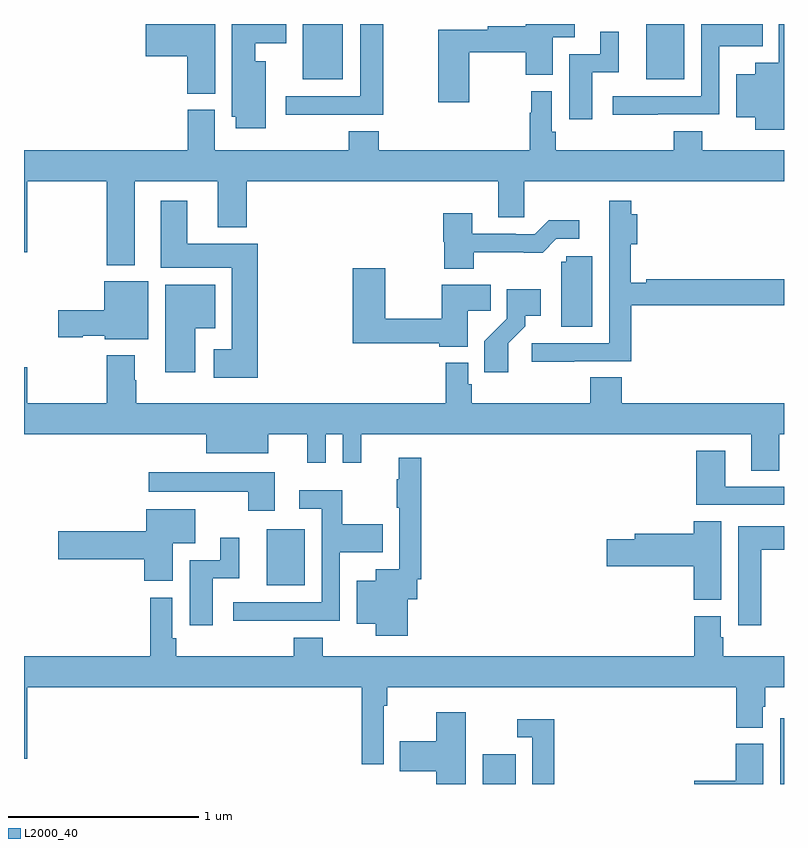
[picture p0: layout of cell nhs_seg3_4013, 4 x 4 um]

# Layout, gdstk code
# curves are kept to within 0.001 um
import gdstk
lib = gdstk.Library(unit=1e-6, precision=1e-09)
def R(c, l, rs):  # rectangles x0, y0, x1, y1
    for r in rs: c.add(gdstk.rectangle(r[:2], r[2:], *l))
def P(c, l, *ps):  # polygons
    for p in ps: c.add(gdstk.Polygon(p, *l))
L2000_40 = (2000, 40)

nhs_seg3_4013 = lib.new_cell('nhs_seg3_4013')
R(nhs_seg3_4013, L2000_40, [(323.414,708.4,323.587,708.556), (324.98,708.4,325,708.745), (322.277,709.445,322.477,709.741), (322.466,712.109,322.678,712.4), (324.275,712.109,324.475,712.4)])
P(nhs_seg3_4013, L2000_40, [(322.273,712.204),(322.216,712.204),(322.216,712.298),(322.381,712.298),(322.381,712.4),(322.094,712.4),(322.094,711.912),(322.115,711.912),(322.115,711.852),(322.273,711.852)],
  [(325,712.4),(324.972,712.4),(324.972,712.195),(324.848,712.195),(324.848,712.135),(324.749,712.135),(324.749,711.908),(324.848,711.908),(324.848,711.843),(325,711.843)],
  [(324.335,711.924),(324.66,711.924),(324.66,712.283),(324.887,712.283),(324.887,712.4),(324.564,712.4),(324.564,712.02),(324.099,712.02),(324.099,711.923),(324.335,711.923)],
  [(323.344,712.252),(323.642,712.252),(323.642,712.134),(323.782,712.134),(323.782,712.331),(323.899,712.331),(323.899,712.4),(323.642,712.4),(323.642,712.388),(323.44,712.388),(323.44,712.371),(323.179,712.371),(323.179,711.987),(323.344,711.987)],
  [(322.006,712.4),(321.642,712.4),(321.642,712.229),(321.86,712.229),(321.86,712.033),(322.006,712.033)],
  [(322.89,712.4),(322.769,712.4),(322.769,712.02),(322.377,712.02),(322.377,711.923),(322.89,711.923)],
  [(323.992,712.146),(324.13,712.146),(324.13,712.36),(324.032,712.36),(324.032,712.242),(323.87,712.242),(323.87,711.9),(323.992,711.9)],
  [(323.495,711.382),(323.634,711.382),(323.634,711.572),(325,711.572),(325,711.736),(324.571,711.736),(324.571,711.835),(324.419,711.835),(324.419,711.736),(323.798,711.736),(323.798,711.832),(323.778,711.832),(323.778,712.045),(323.67,712.045),(323.67,711.932),(323.662,711.932),(323.662,711.736),(322.868,711.736),(322.868,711.835),(322.708,711.835),(322.708,711.736),(322.003,711.736),(322.003,711.948),(321.863,711.948),(321.863,711.736),(321,711.736),(321,711.198),(321.016,711.198),(321.016,711.572),(321.436,711.572),(321.436,711.131),(321.583,711.131),(321.583,711.572),(322.019,711.572),(322.019,711.329),(322.172,711.329),(322.172,711.572),(323.495,711.572)],
  [(323.897,710.625),(324.197,710.625),(324.197,710.92),(325,710.92),(325,711.056),(324.274,711.056),(324.274,711.038),(324.193,711.038),(324.193,711.242),(324.227,711.242),(324.227,711.4),(324.197,711.4),(324.197,711.469),(324.08,711.469),(324.08,711.246),(324.081,711.246),(324.081,710.721),(323.673,710.721),(323.673,710.623),(323.897,710.623)],
  [(322.229,711.244),(321.859,711.244),(321.859,711.469),(321.719,711.469),(321.719,711.116),(322.094,711.116),(322.094,710.689),(321.999,710.689),(321.999,710.537),(322.229,710.537)],
  [(323.367,711.198),(323.729,711.197),(323.802,711.27),(323.923,711.27),(323.923,711.367),(323.761,711.367),(323.688,711.294),(323.588,711.294),(323.588,711.297),(323.359,711.297),(323.359,711.403),(323.207,711.403),(323.207,711.255),(323.212,711.255),(323.212,711.113),(323.367,711.113)],
  [(323.992,711.177),(323.853,711.177),(323.853,711.15),(323.828,711.15),(323.828,710.806),(323.992,710.806)],
  [(323.335,710.89),(323.456,710.89),(323.456,711.028),(323.198,711.028),(323.198,710.849),(322.9,710.849),(322.9,711.115),(322.73,711.115),(322.73,710.721),(323.186,710.721),(323.186,710.702),(323.335,710.702)],
  [(321.655,711.046),(321.422,711.046),(321.422,710.894),(321.18,710.894),(321.18,710.752),(321.309,710.752),(321.309,710.759),(321.426,710.759),(321.426,710.741),(321.655,710.741)],
  [(321.901,710.798),(322.006,710.798),(322.006,711.028),(321.743,711.028),(321.743,710.568),(321.901,710.568)],
  [(323.548,710.719),(323.638,710.809),(323.638,710.864),(323.719,710.864),(323.719,711.004),(323.541,711.004),(323.541,710.849),(323.422,710.73),(323.422,710.568),(323.548,710.568)],
  [(321,710.593),(321,710.24),(321.959,710.24),(321.959,710.141),(322.285,710.141),(322.285,710.24),(322.49,710.24),(322.49,710.091),(322.587,710.091),(322.587,710.24),(322.677,710.24),(322.677,710.091),(322.775,710.091),(322.775,710.24),(324.827,710.24),(324.827,710.05),(324.975,710.05),(324.975,710.24),(325,710.24),(325,710.404),(324.146,710.404),(324.146,710.54),(323.981,710.54),(323.981,710.404),(323.357,710.404),(323.357,710.505),(323.337,710.505),(323.337,710.617),(323.221,710.617),(323.221,710.404),(321.591,710.404),(321.591,710.525),(321.583,710.525),(321.583,710.656),(321.436,710.656),(321.436,710.404),(321.016,710.404),(321.016,710.593)],
  [(325,709.965),(324.691,709.965),(324.691,710.155),(324.539,710.155),(324.539,709.869),(325,709.869)],
  [(323.021,709.373),(323.07,709.373),(323.07,709.477),(323.09,709.477),(323.09,710.116),(322.973,710.116),(322.973,710.003),(322.962,710.003),(322.962,709.855),(322.974,709.855),(322.974,709.531),(322.85,709.531),(322.85,709.471),(322.751,709.471),(322.751,709.244),(322.85,709.244),(322.85,709.179),(323.021,709.179)],
  [(322.321,710.041),(321.657,710.041),(321.657,709.937),(322.181,709.937),(322.181,709.839),(322.321,709.839)],
  [(322.337,709.26),(322.662,709.26),(322.662,709.619),(322.889,709.619),(322.889,709.767),(322.675,709.767),(322.675,709.945),(322.449,709.945),(322.449,709.848),(322.566,709.848),(322.566,709.356),(322.101,709.356),(322.101,709.259),(322.337,709.259)],
  [(321.784,709.667),(321.901,709.667),(321.901,709.846),(321.644,709.846),(321.644,709.73),(321.18,709.73),(321.18,709.583),(321.632,709.583),(321.632,709.47),(321.784,709.47)],
  [(324.67,709.784),(324.524,709.784),(324.524,709.718),(324.215,709.718),(324.215,709.688),(324.066,709.688),(324.066,709.546),(324.524,709.546),(324.524,709.369),(324.67,709.369)],
  [(324.88,709.634),(325,709.634),(325,709.756),(324.758,709.756),(324.758,709.236),(324.88,709.236)],
  [(321.994,709.482),(322.132,709.482),(322.132,709.696),(322.034,709.696),(322.034,709.578),(321.872,709.578),(321.872,709.236),(321.994,709.236)],
  [(322.893,708.812),(322.913,708.812),(322.913,708.908),(324.749,708.908),(324.749,708.697),(324.889,708.697),(324.889,708.807),(324.902,708.807),(324.902,708.908),(325,708.908),(325,709.072),(324.68,709.072),(324.68,709.173),(324.667,709.173),(324.667,709.284),(324.527,709.284),(324.527,709.072),(322.573,709.072),(322.573,709.171),(322.421,709.171),(322.421,709.072),(321.8,709.072),(321.8,709.168),(321.78,709.168),(321.78,709.381),(321.664,709.381),(321.664,709.072),(321,709.072),(321,708.534),(321.016,708.534),(321.016,708.908),(322.777,708.908),(322.777,708.504),(322.893,708.504)],
  [(323.326,708.778),(323.171,708.778),(323.171,708.625),(322.978,708.625),(322.978,708.467),(323.171,708.467),(323.171,708.4),(323.326,708.4)],
  [(323.792,708.742),(323.595,708.742),(323.595,708.645),(323.676,708.645),(323.676,708.4),(323.792,708.4)],
  [(324.892,708.612),(324.746,708.612),(324.746,708.416),(324.528,708.416),(324.528,708.4),(324.892,708.4)])

lib.write_gds('nhs_seg3_4013.gds')
